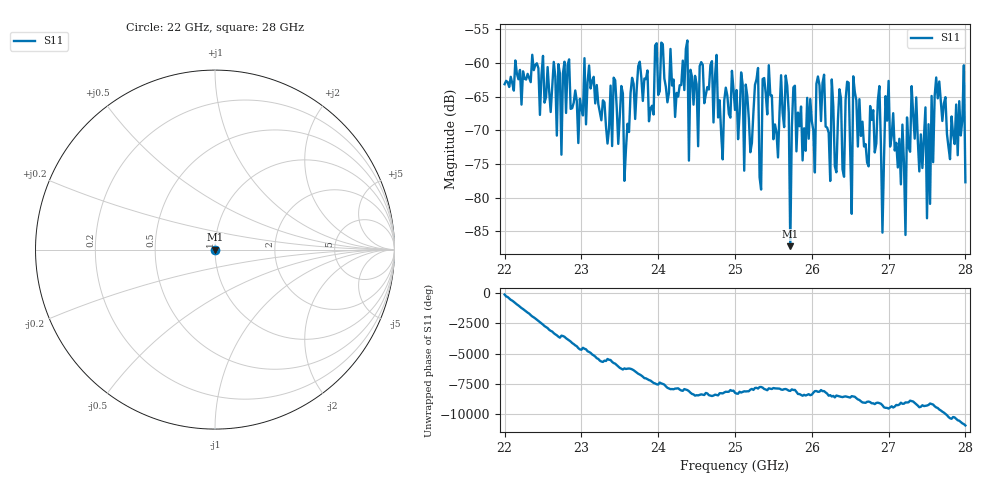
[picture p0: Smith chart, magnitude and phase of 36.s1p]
#  HZ  S  RI  R  50.00
! Rohde & Schwarz ZVA40 4Ports - Version 3.90 - 1145.1110k42 SN: 100403
! Date: 2023-10-04 07:59:42
! Measurement: S12
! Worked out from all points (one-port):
!   301 points, 22 GHz to 28 GHz, reference 50 ohm
!   lowest |S11| = -87.2 dB at 25.72 GHz (marker M1), VSWR 1.00, Z = 50 - j0.00223 ohm
!   |S11| at or under -10 dB: start of sweep to end of sweep
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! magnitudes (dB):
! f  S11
! 22 GHz  -63.2
! 22.7 GHz  -60.2
! 22.74 GHz  -73.6
! 22.76 GHz  -61.5
! 23.5 GHz  -67.9
! 24.26 GHz  -65.0
! 25 GHz  -67.0
! 25.08 GHz  -61.4
! 25.12 GHz  -76.0
! 25.14 GHz  -63.2
! 25.3 GHz  -60.8
! 25.34 GHz  -78.8
! 25.36 GHz  -62.4
! 25.56 GHz  -74.0
! 25.66 GHz  -61.9
! 25.72 GHz  -87.2
! 25.76 GHz  -63.6
! 26.5 GHz  -73.1
! 26.54 GHz  -62.0
! 26.92 GHz  -85.2
! 27 GHz  -62.7
! 27.26 GHz  -72.5
! 27.48 GHz  -66.6
! 27.54 GHz  -80.9
! 27.62 GHz  -62.2
! 27.8 GHz  -74.3
! 27.98 GHz  -60.4
! 28 GHz  -77.7
